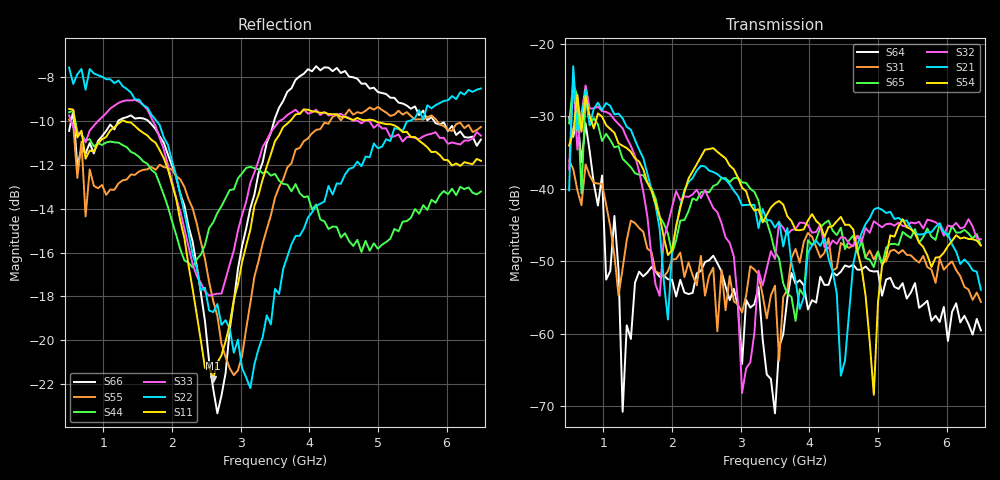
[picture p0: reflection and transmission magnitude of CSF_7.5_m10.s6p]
!Keysight Technologies,M9804A,MY58100912,A.14.10.03
!Date: Thursday, April 27, 2023 10:28:33
!Correction: S11(C  6-Port  )
!S12(C  6-Port  )
!S13(C  6-Port  )
!S14(C  6-Port  )
!S15(C  6-Port  )
!S16(C  6-Port  )
!S21(C  6-Port  )
!S22(C  6-Port  )
!S23(C  6-Port  )
!S24(C  6-Port  )
!S25(C  6-Port  )
!S26(C  6-Port  )
!S31(C  6-Port  )
!S32(C  6-Port  )
!S33(C  6-Port  )
!S34(C  6-Port  )
!S35(C  6-Port  )
!S36(C  6-Port  )
!S41(C  6-Port  )
!S42(C  6-Port  )
!S43(C  6-Port  )
!S44(C  6-Port  )
!S45(C  6-Port  )
!S46(C  6-Port  )
!S51(C  6-Port  )
!S52(C  6-Port  )
!S53(C  6-Port  )
!S54(C  6-Port  )
!S55(C  6-Port  )
!S56(C  6-Port  )
!S61(C  6-Port  )
!S62(C  6-Port  )
!S63(C  6-Port  )
!S64(C  6-Port  )
!S65(C  6-Port  )
!S66(C  6-Port  )
!S6P File: Measurement: :
# Hz S  RI  R 50
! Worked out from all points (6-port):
!   101 points, 500 MHz to 6.5 GHz, reference 50 ohm
!   strongest paths, dB at 500 MHz, 2 GHz, 3.5 GHz, 5 GHz, 6.5 GHz:
!     S54: -34.0, -48.5, -42.0, -55.8, -47.8
!     S21: -40.2, -48.5, -45.3, -42.6, -53.9
!     S32: -37.3, -42.5, -49.7, -44.9, -47.0
!     S65: -30.9, -48.9, -48.7, -48.7, -47.8
!     S31: -36.1, -49.8, -53.4, -48.6, -55.6
!     S64: -30.1, -52.6, -71.0, -51.4, -59.5
!   lowest |S11| = -21.7 dB at 2.6 GHz (marker M1), VSWR 1.18, Z = 42.7 + j1.98 ohm
!   |S11| at or under -10 dB: 584.4 MHz to 1.267 GHz (682.7 MHz wide, 73.7 % of centre); 1.303 GHz to 3.72 GHz (2.417 GHz wide, 96.2 % of centre); 4.957 GHz to end of sweep
